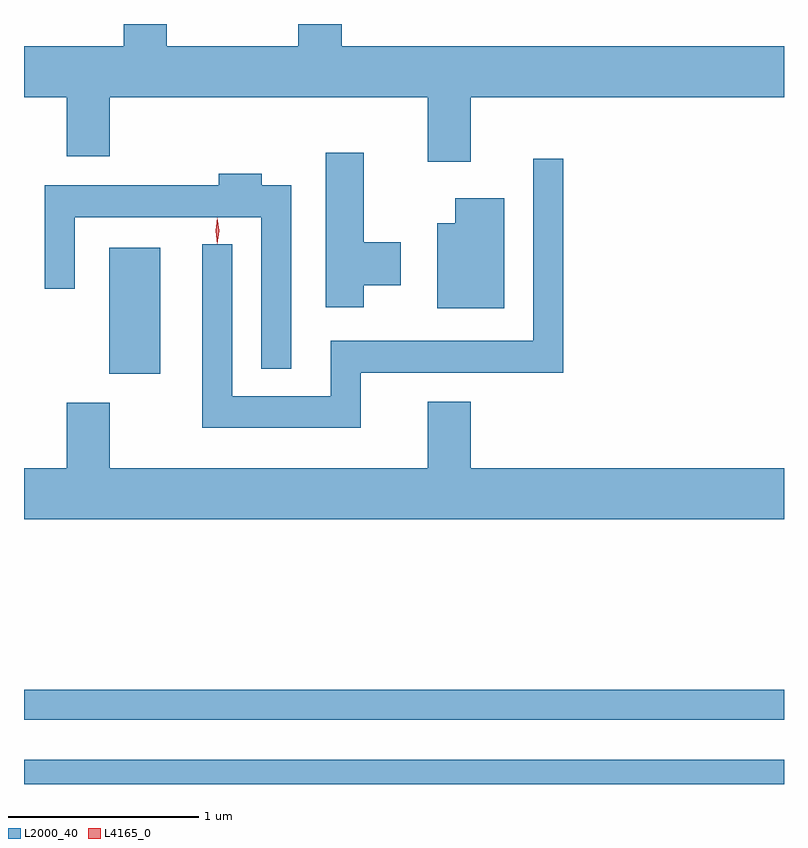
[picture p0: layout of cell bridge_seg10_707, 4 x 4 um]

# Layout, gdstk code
import gdstk
lib = gdstk.Library(unit=1e-6, precision=1e-09)
def R(c, l, rs):  # rectangles x0, y0, x1, y1
    for r in rs: c.add(gdstk.rectangle(r[:2], r[2:], *l))
def P(c, l, *ps):  # polygons
    for p in ps: c.add(gdstk.Polygon(p, *l))
L2000_40 = (2000, 40)
L4165_0 = (4165, 0)

bridge_seg10_707 = lib.new_cell('bridge_seg10_707')
R(bridge_seg10_707, L2000_40, [(900.427,2139.162,904.427,2139.289), (900.427,2139.501,904.427,2139.659), (900.876,2141.321,901.144,2141.984)])
P(bridge_seg10_707, L2000_40, [(902.779,2142.776),(904.427,2142.776),(904.427,2143.044),(902.099,2143.044),(902.099,2143.162),(901.871,2143.162),(901.871,2143.044),(901.179,2143.044),(901.179,2143.162),(900.951,2143.162),(900.951,2143.044),(900.427,2143.044),(900.427,2142.776),(900.651,2142.776),(900.651,2142.466),(900.879,2142.466),(900.879,2142.776),(902.551,2142.776),(902.551,2142.436),(902.779,2142.436)],
  [(902.214,2141.786),(902.409,2141.786),(902.409,2142.014),(902.214,2142.014),(902.214,2142.484),(902.016,2142.484),(902.016,2141.671),(902.214,2141.671)],
  [(902.199,2141.326),(903.264,2141.326),(903.264,2142.453),(903.106,2142.453),(903.106,2141.494),(902.041,2141.494),(902.041,2141.204),(901.524,2141.204),(901.524,2142.003),(901.366,2142.003),(901.366,2141.036),(902.199,2141.036)],
  [(901.834,2142.314),(901.679,2142.314),(901.679,2142.374),(901.451,2142.374),(901.451,2142.314),(900.536,2142.314),(900.536,2141.768),(900.694,2141.768),(900.694,2142.146),(901.676,2142.146),(901.676,2141.348),(901.834,2141.348)],
  [(902.954,2142.244),(902.696,2142.244),(902.696,2142.114),(902.601,2142.114),(902.601,2141.666),(902.954,2141.666)],
  [(904.427,2140.824),(902.779,2140.824),(902.779,2141.174),(902.551,2141.174),(902.551,2140.824),(900.879,2140.824),(900.879,2141.169),(900.651,2141.169),(900.651,2140.824),(900.427,2140.824),(900.427,2140.556),(904.427,2140.556)])
P(bridge_seg10_707, L4165_0, [(901.445,2142.007),(901.444,2142.008),(901.435,2142.074),(901.444,2142.14),(901.445,2142.14),(901.445,2142.14),(901.455,2142.074),(901.445,2142.008)],
  [(901.444,2142.004),(901.435,2142.073),(901.444,2142.142),(901.445,2142.143),(901.445,2142.142),(901.455,2142.073),(901.445,2142.004),(901.445,2142.004)])

lib.write_gds('bridge_seg10_707.gds')
